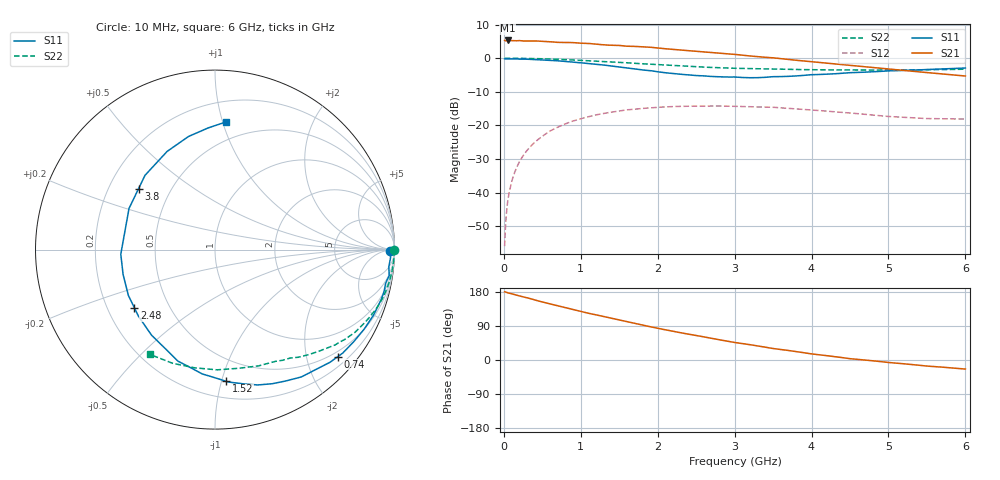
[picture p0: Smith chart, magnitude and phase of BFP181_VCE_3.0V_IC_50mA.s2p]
! Infineon Technologies  Discrete & RF Semiconductors
! BFP181
! VCE = 3.0 V,  IC =  50 mA
! Common Emitter S-Parameters:  Jan 2016
# GHz  S  MA  R  50
!  f  S11  S21  S12  S22
! GHz  MAG  ANG  MAG  ANG  MAG  ANG  MAG  ANG
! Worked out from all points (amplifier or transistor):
!   210 points, 10 MHz to 6 GHz, reference 50 ohm
!   highest |S21| = 5.3 dB at 50 MHz (marker M1)
!   |S21| within 3 dB of that: start of sweep to 2.391 GHz
!   unconditionally stable (mu >= 1): 3.689 GHz to end of sweep
!   at 185 MHz: K = 0.07, MSG = 18.4 dB, |S12| = -31.6 dB
!   at 1.52 GHz: K = 0.45, MSG = 9.7 dB, |S12| = -15.6 dB
!   at 6 GHz: K = 1.46, MAG = 2.4 dB, |S12| = -18.1 dB
!   S11 on the Smith chart (normalised r, x): 10 MHz: 72, -32; 740 MHz: 0.39, -2.62; 1.52 GHz: 0.32, -1.03; 2.48 GHz: 0.31, -0.29; 3.8 GHz: 0.33, +0.32; 6 GHz: 0.35, +1.03
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0.01  0.9771 -0.6  1.835 179.8  0.0016 85.8  0.9983 -0.2
0.02  0.9757 -1.2  1.809 179.6  0.0029 90.9  0.9976 -0.4
0.03  0.9768 -1.7  1.818 178.8  0.0044 89.6  0.9976 -0.7
0.05  0.9792 -2.6  1.836 177.3  0.0074 88.5  0.9976 -1.4
0.085  0.9747 -4.7  1.824 175.6  0.0122 86.1  0.9975 -2.4
0.13  0.9778 -7.3  1.814 173.2  0.0185 83.5  0.9971 -3.5
0.26  0.9698 -14.5  1.802 166.2  0.0367 79.5  0.9932 -7.1
0.46  0.9464 -25.8  1.794 155.2  0.0637 71.4  0.9828 -12.3
0.74  0.9074 -41.1  1.718 141.1  0.0987 60.7  0.9589 -19.5
1.02  0.8513 -57.0  1.669 127.2  0.1276 50.5  0.9266 -26.3
1.52  0.7364 -85.2  1.539 104.7  0.1653 34.3  0.8631 -36.9
1.8  0.6693 -102.3  1.478 91.9  0.179 26.6  0.8264 -41.9
2.02  0.6236 -114.9  1.41 82.9  0.1866 20.7  0.8002 -45.7
2.48  0.5542 -144.1  1.273 65.3  0.1934 9.6  0.7489 -53.4
2.8  0.5305 -164.9  1.189 53.4  0.1944 2.9  0.7235 -58.4
3.1  0.5163 177.2  1.108 43.4  0.1909 -2.8  0.7038 -63.0
3.5  0.5311 154.4  1.013 30.3  0.1862 -9.3  0.692 -69.4
3.8  0.5448 141.4  0.932 22.2  0.1761 -12.9  0.679 -75.0
4.1  0.5722 129.7  0.865 13.8  0.1664 -16.3  0.6716 -80.8
4.5  0.6086 116.0  0.784 3.5  0.1531 -19.6  0.67 -89.0
5.1  0.6519 101.1  0.674 -8.2  0.134 -19.5  0.6679 -101.9
6  0.7143 85.0  0.543 -23.9  0.1244 -11.9  0.6869 -121.7
